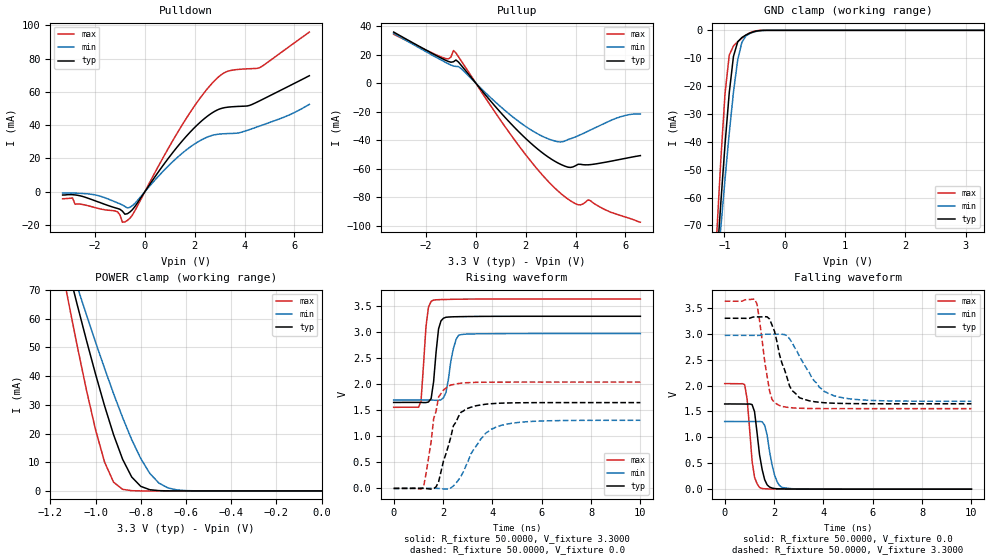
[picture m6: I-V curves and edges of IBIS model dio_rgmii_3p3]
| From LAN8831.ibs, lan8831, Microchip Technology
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[Model]  dio_rgmii_3p3
Model_type I/O
Polarity   Non-Inverting
Enable   Active-Low
Vinl =   1.287V
Vinh =   2.079V
C_comp   1.96pF   1.764pF   2.156pF
Vmeas =  1.6500V
Vref =   0.0V
[Temperature Range]   42.0000   0.1250k   -40.0000
[Voltage Range]   3.3000V   2.9700V   3.6300V
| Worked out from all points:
|   slope of the pulldown table from 0 to 0.495 V, typ, clamps not added: 45.5 ohm
|   slope of the pullup table from 0 to 0.495 V, typ, clamps not added: 47.1 ohm
|   GND clamp passes 1 mA (typ) near -0.58 V on its own axis
|   POWER clamp passes 1 mA (typ) near -0.78 V on its own axis
|   rising waveform, R_fixture 50.0000, V_fixture 3.3000: 20-80 % time 202ps typ, 278ps min, 188ps max; typ from 1.65 V to 3.3 V
|   rising waveform, R_fixture 50.0000, V_fixture 0.0: 20-80 % time 645ps typ, 952ps min, 421ps max; typ from 0 V to 1.65 V
|   falling waveform, R_fixture 50.0000, V_fixture 0.0: 20-80 % time 290ps typ, 312ps min, 225ps max; typ from 1.65 V to 0 V
|   falling waveform, R_fixture 50.0000, V_fixture 3.3000: 20-80 % time 586ps typ, 1.02ns min, 370ps max; typ from 3.3 V to 1.65 V
[Pulldown]
|Voltage   I(typ)   I(min)   I(max)
-3.3V     -1.981mA   -772.9uA   -4.223mA
-2.9V     -1.775mA   -809.8uA   -3.757mA
-2.8V     -1.913mA   -847.8uA   -7.521mA
-1.9V     -5.972mA   -2.214mA   -9.895mA
-1.1V     -10.04mA   -6.646mA   -12.03mA
-900mV    -11.68mA   -7.937mA   -18.3mA
-700mV    -13.19mA   -9.733mA   -17.23mA
1.5V      30.5mA     23.13mA    40.19mA
2.8V      48.28mA    34.2mA     66.74mA
3.4V      50.91mA    34.98mA    72.67mA
4.6V      54.56mA    39.43mA    74.46mA
6.6V      69.68mA    52.46mA    95.89mA
[Pullup]
|Voltage   I(typ)   I(min)   I(max)
-3.3V     35.92mA    35.04mA    34.38mA
-1.2V     16.01mA    14.5mA     17.28mA
-1V       14.77mA    12.78mA    18.42mA
-900mV    15.08mA    12.11mA    22.99mA
-700mV    14.88mA    11.71mA    18.62mA
1.7V      -33.7mA    -26.6mA    -43.31mA
3V        -52.95mA   -39.64mA   -70.68mA
3.8V      -59.1mA    -38.92mA   -82.57mA
4.2V      -56.91mA   -36.11mA   -85.39mA
4.5V      -57.26mA   -33.65mA   -81.91mA
5.7V      -53.76mA   -24.13mA   -92.24mA
6.6V      -50.8mA    -21.54mA   -97.55mA
[GND_clamp]
|Voltage   I(typ)   I(min)   I(max)
-3.3V     -865mA     -704.7mA   -1.076A
-1.13V    -84.4mA    -89.11mA   -74.31mA
-1.06V    -61.99mA   -70.97mA   -46.58mA
-990mV    -40.93mA   -53.45mA   -22.69mA
-920mV    -22.42mA   -36.95mA   -8.9mA
-850mV    -9.342mA   -22.18mA   -5.599mA
-780mV    -4.139mA   -10.64mA   -4.089mA
-710mV    -2.579mA   -4.232mA   -2.784mA
-640mV    -1.642mA   -1.944mA   -1.66mA
-570mV    -916uA     -1.048mA   -790.7uA
-290mV    -2.055uA   -9.81uA    -144.5nA
3.3V      549.4pA    59.94nA    448.7pA
[POWER_clamp]
|Voltage   I(typ)   I(min)   I(max)
-3.28V    820.8mA    663.8mA    1.037A
-1.16V    89.77mA    90.77mA    82.4mA
-1.12V    77.07mA    80.82mA    66.03mA
-1.08V    64.6mA     71mA       50.17mA
-1.04V    52.45mA    61.34mA    35.12mA
-960mV    29.66mA    42.7mA     10.06mA
-920mV    19.55mA    33.87mA    3.016mA
-880mV    11mA       25.52mA    557.8uA
-800mV    1.595mA    11.28mA    12.03uA
-720mV    103.3uA    2.757mA    248.6nA
-640mV    5.812uA    357.2uA    7.94nA
0V        549.4pA    3.932nA    814.2pA
[Ramp]
| variable   typ   min   max
dV/dt_r  0.9871/0.6282n   0.7835/0.9724n   1.2227/0.3878n
dV/dt_f  0.9911/0.6188n   0.7642/0.9938n   1.2451/0.3605n
R_load = 50.0000
[Rising Waveform]
R_fixture= 50.0000
V_fixture= 3.3000
V_fixture_min= 2.9700
V_fixture_max= 3.6300
|time   V(typ)   V(min)   V(max)
0s        1.648V     1.696V     1.555V
1.11ns    1.649V     1.697V     1.677V
1.31ns    1.646V     1.697V     3.101V
1.41ns    1.656V     1.696V     3.474V
1.62ns    2.051V     1.692V     3.611V
1.82ns    3.058V     1.69V      3.618V
2.12ns    3.281V     1.838V     3.623V
2.42ns    3.29V      2.679V     3.626V
2.63ns    3.292V     2.935V     3.627V
10ns      3.3V       2.97V      3.63V
[Rising Waveform]
R_fixture= 50.0000
V_fixture= 0.0
V_fixture_min= 0.0
V_fixture_max= 0.0
|time   V(typ)   V(min)   V(max)
0s        151.1uV    91.78uV    313.6uV
1.21ns    3.429mV    426uV      24.73mV
1.52ns    -14.36mV   1.424mV    899.1mV
1.62ns    -5.918mV   2.06mV     1.332V
1.82ns    125.1mV    -792uV     1.752V
2.32ns    989.2mV    10.83mV    1.983V
2.73ns    1.46V      235.6mV    2.018V
3.54ns    1.602V     951.8mV    2.035V
4.14ns    1.63V      1.175V     2.037V
10ns      1.645V     1.306V     2.038V
[Falling Waveform]
R_fixture= 50.0000
V_fixture= 0.0
V_fixture_min= 0.0
V_fixture_max= 0.0
|time   V(typ)   V(min)   V(max)
0s        1.645V     1.306V     2.038V
810ps     1.644V     1.306V     2.018V
910ps     1.642V     1.306V     1.734V
1.11ns    1.633V     1.305V     545.2mV
1.21ns    1.496V     1.305V     228.3mV
1.41ns    671.6mV    1.307V     33.46mV
1.72ns    82.96mV    1.042V     5.714mV
2.02ns    11.67mV    274.2mV    3.096mV
2.32ns    5.402mV    35.82mV    2.098mV
10ns      79.66nV    4.101uV    533.2nV
[Falling Waveform]
R_fixture= 50.0000
V_fixture= 3.3000
V_fixture_min= 2.9700
V_fixture_max= 3.6300
|time   V(typ)   V(min)   V(max)
0s        3.3V       2.97V      3.63V
1.21ns    3.328V     2.969V     3.67V
1.31ns    3.327V     2.968V     3.574V
1.82ns    3.284V     2.992V     1.895V
2.22ns    2.6V       2.993V     1.616V
2.63ns    1.99V      2.902V     1.577V
3.03ns    1.764V     2.564V     1.563V
3.84ns    1.677V     1.965V     1.556V
4.44ns    1.659V     1.801V     1.555V
10ns      1.648V     1.696V     1.555V
